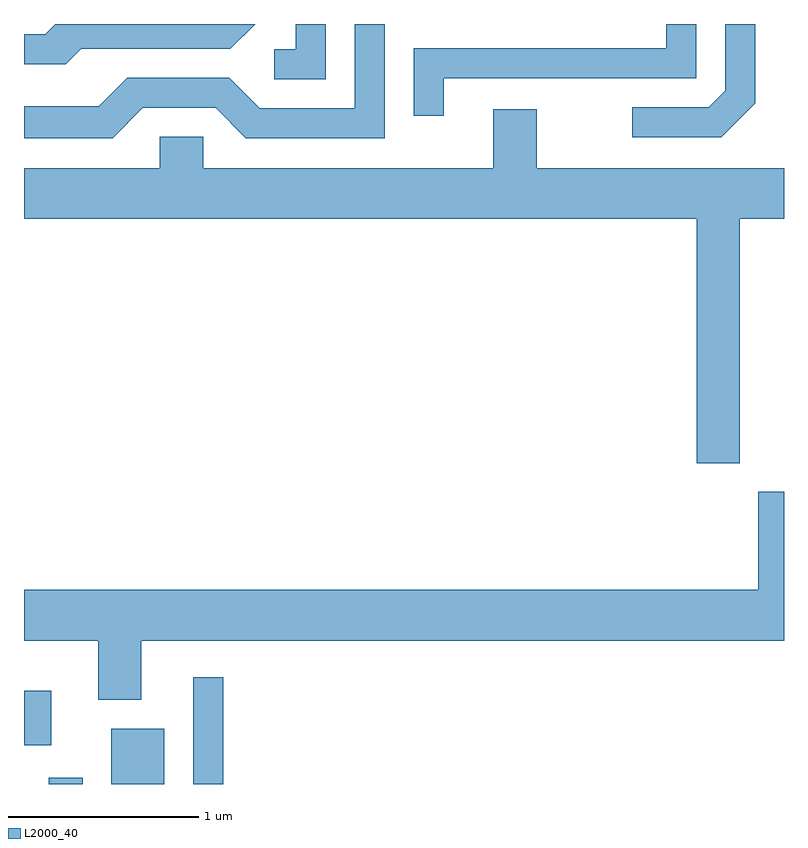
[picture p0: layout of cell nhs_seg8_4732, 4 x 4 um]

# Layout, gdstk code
import gdstk
lib = gdstk.Library(unit=1e-6, precision=1e-09)
def R(c, l, rs):  # rectangles x0, y0, x1, y1
    for r in rs: c.add(gdstk.rectangle(r[:2], r[2:], *l))
def P(c, l, *ps):  # polygons
    for p in ps: c.add(gdstk.Polygon(p, *l))
L2000_40 = (2000, 40)

nhs_seg8_4732 = lib.new_cell('nhs_seg8_4732')
R(nhs_seg8_4732, L2000_40, [(327.741,1822.342,327.919,1822.374), (328.071,1822.342,328.349,1822.634), (328.501,1822.342,328.659,1822.903), (327.611,1822.546,327.754,1822.834)])
P(nhs_seg8_4732, L2000_40, [(329.199,1826.342),(329.041,1826.342),(329.041,1826.209),(328.928,1826.209),(328.928,1826.051),(329.199,1826.051)],
  [(329.819,1826.056),(331.149,1826.056),(331.149,1826.342),(330.991,1826.342),(330.991,1826.214),(329.661,1826.214),(329.661,1825.858),(329.819,1825.858)],
  [(327.912,1826.211),(328.697,1826.211),(328.827,1826.342),(327.776,1826.342),(327.724,1826.289),(327.611,1826.289),(327.611,1826.131),(327.832,1826.131)],
  [(331.459,1825.924),(331.459,1826.342),(331.301,1826.342),(331.301,1825.992),(331.214,1825.904),(330.813,1825.904),(330.813,1825.746),(331.282,1825.746)],
  [(328.237,1825.901),(328.619,1825.901),(328.779,1825.741),(329.509,1825.741),(329.509,1826.342),(329.351,1826.342),(329.351,1825.899),(328.852,1825.899),(328.692,1826.059),(328.154,1826.059),(328.004,1825.909),(327.611,1825.909),(327.611,1825.741),(328.077,1825.741)],
  [(331.379,1825.316),(331.611,1825.316),(331.611,1825.584),(330.309,1825.584),(330.309,1825.894),(330.081,1825.894),(330.081,1825.584),(328.554,1825.584),(328.554,1825.749),(328.326,1825.749),(328.326,1825.584),(327.611,1825.584),(327.611,1825.316),(331.151,1825.316),(331.151,1824.031),(331.379,1824.031)],
  [(328.229,1823.096),(331.611,1823.096),(331.611,1823.879),(331.476,1823.879),(331.476,1823.364),(327.611,1823.364),(327.611,1823.096),(328.001,1823.096),(328.001,1822.786),(328.229,1822.786)])

lib.write_gds('nhs_seg8_4732.gds')
